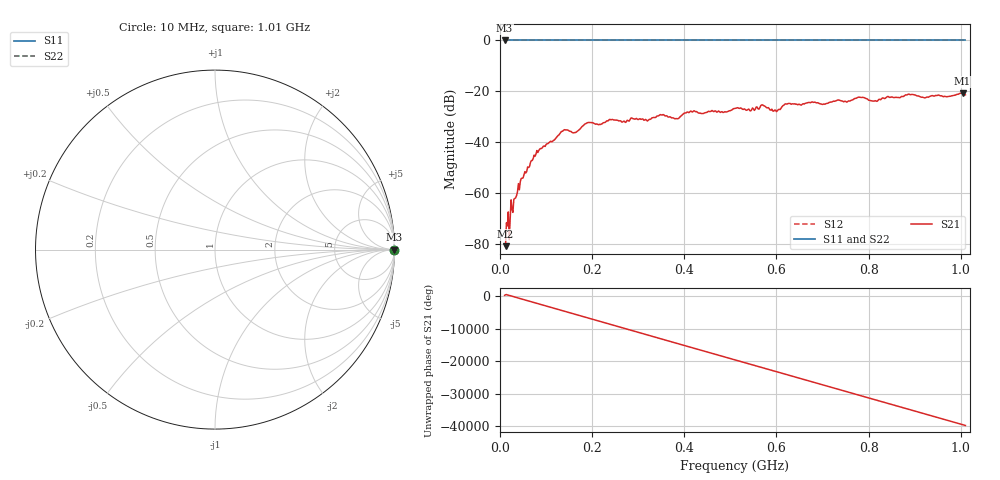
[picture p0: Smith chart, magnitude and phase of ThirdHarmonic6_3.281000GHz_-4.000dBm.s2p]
! 8/17/2025 10:10:34 AM
! C:\ANRITSUVNA\TEMP\TEMP.S2P
! CHANNEL.1
! TR.MEASUREMENT
! RAW.DATA
! RF.CORRECTION.OFF
! AVERAGING.OFF
! IF.BANDWIDTH: 5KHZ
! SWEEPTYPE:  FREQ.SWEEP(Linear)
! Reference Plane Port Info
! PORT:  PORT1  PORT2
! DISTANCE:  0  m  0  m
! TIME:  0  s  0  s
! PHASE.OFFSET:  0  deg.  0  deg.
! LOSS:  0  dB  0  dB
! REF.LOSS:  0  dB  0  dB
! REF.FREQ:  0  Hz  0  Hz
! Power Info
! POWER:  -20  dBm  -20  dBm
! EFF.POWER:  -20  dBm  -20  dBm
! SOURCE.ATTEN:  0  dB  0  dB
! TEST.ATTEN:  0  dB  0  dB
# GHZ S RI R 50.0
! FREQ.GHZ  S11RE  S11IM  S21RE  S21IM  S12RE  S12IM  S22RE  S22IM
!; PortSelection: Port_12
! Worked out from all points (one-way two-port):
!   501 points, 10 MHz to 1.01 GHz, reference 50 ohm
!   highest |S21| = -20.75 dB at 1.004 GHz (marker M1); lowest = -80.8 dB at 12 MHz (marker M2)
!   lowest |S11| = 0.0 dB at 10 MHz (marker M3)
!   |S11| at or under -10 dB: nowhere
!   |S22| runs from 0.0 to 0.0 dB; largest |S21 - S12| = 1.1
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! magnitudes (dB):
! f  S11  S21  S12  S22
! 10 MHz  0.0  -80.0  0.0  0.0
! 12 MHz  0.0  -80.8  0.0  0.0
! 22 MHz  0.0  -70.2  0.0  0.0
! 24 MHz  0.0  -62.6  0.0  0.0
! 28 MHz  0.0  -67.5  0.0  0.0
! 44 MHz  0.0  -55.5  0.0  0.0
! 76 MHz  0.0  -45.5  0.0  0.0
! 136 MHz  0.0  -35.6  0.0  0.0
! 162 MHz  0.0  -36.2  0.0  0.0
! 178 MHz  0.0  -33.8  0.0  0.0
! 344 MHz  0.0  -29.6  0.0  0.0
! 384 MHz  0.0  -30.7  0.0  0.0
! 410 MHz  0.0  -28.3  0.0  0.0
! 510 MHz  0.0  -26.7  0.0  0.0
! 542 MHz  0.0  -27.5  0.0  0.0
! 570 MHz  0.0  -25.3  0.0  0.0
! 598 MHz  0.0  -27.4  0.0  0.0
! 622 MHz  0.0  -25.0  0.0  0.0
! 678 MHz  0.0  -24.2  0.0  0.0
! 844 MHz  0.0  -22.2  0.0  0.0
! 1.004 GHz  0.0  -20.8  0.0  0.0
! 1.01 GHz  0.0  -21.4  0.0  0.0
